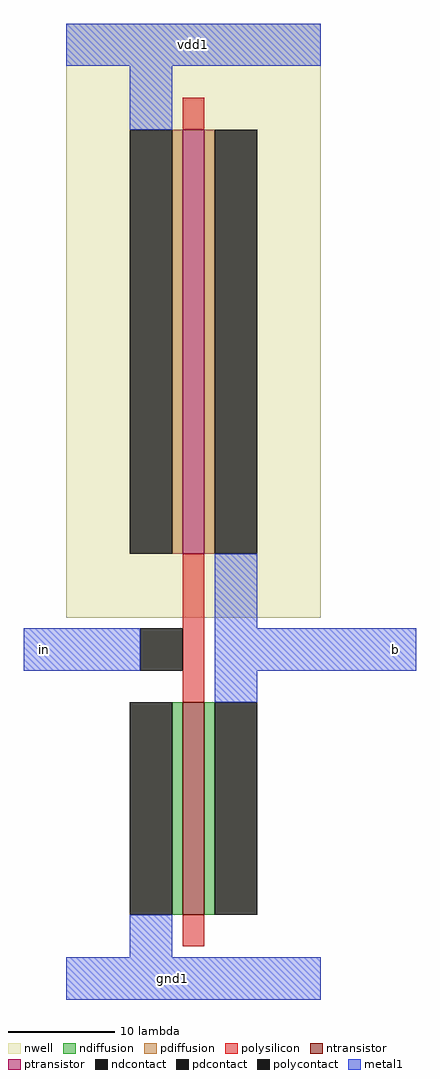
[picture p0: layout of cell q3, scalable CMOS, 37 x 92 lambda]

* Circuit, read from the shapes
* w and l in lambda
.subckt q3 b gnd1 in vdd1
M1 b in gnd1 VSUBS nfet w=20 l=2
M2 b in vdd1 n1 pfet w=40 l=2
.ends

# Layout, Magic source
magic
tech scmos
<< nwell >>
rect -6 -6 18 50
<< ntransistor >>
rect 5 -34 7 -14
<< ptransistor >>
rect 5 0 7 40
<< ndiffusion >>
rect 4 -34 5 -14
rect 7 -34 8 -14
<< pdiffusion >>
rect 4 0 5 40
rect 7 0 8 40
<< ndcontact >>
rect 0 -34 4 -14
rect 8 -34 12 -14
<< pdcontact >>
rect 0 0 4 40
rect 8 0 12 40
<< polysilicon >>
rect 5 40 7 43
rect 5 -14 7 0
rect 5 -37 7 -34
<< polycontact >>
rect 1 -11 5 -7
<< metal1 >>
rect -6 46 18 50
rect 0 40 4 46
rect 8 -7 12 0
rect -10 -11 1 -7
rect 8 -11 27 -7
rect 8 -14 12 -11
rect 0 -38 4 -34
rect -6 -42 18 -38
<< labels >>
rlabel metal1 4 46 8 50 5 vdd1
rlabel metal1 2 -42 6 -38 1 gnd1
rlabel metal1 23 -11 27 -7 1 b
rlabel metal1 -10 -11 -6 -7 3 in
<< end >>
